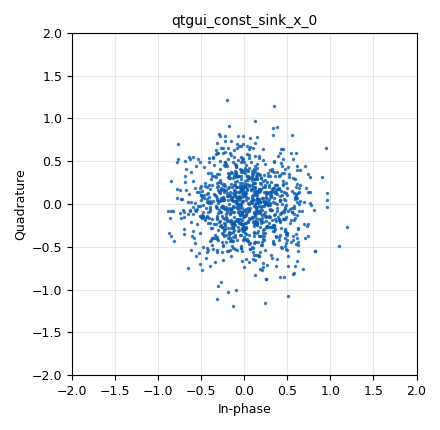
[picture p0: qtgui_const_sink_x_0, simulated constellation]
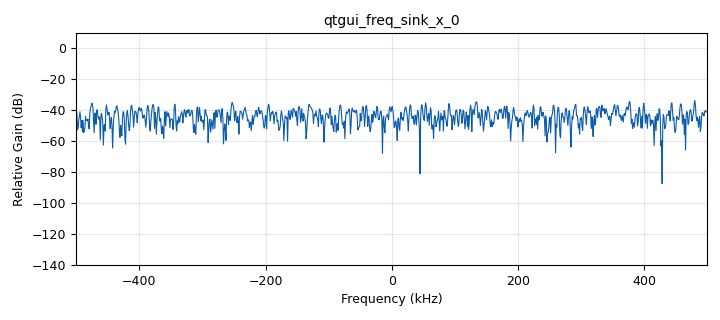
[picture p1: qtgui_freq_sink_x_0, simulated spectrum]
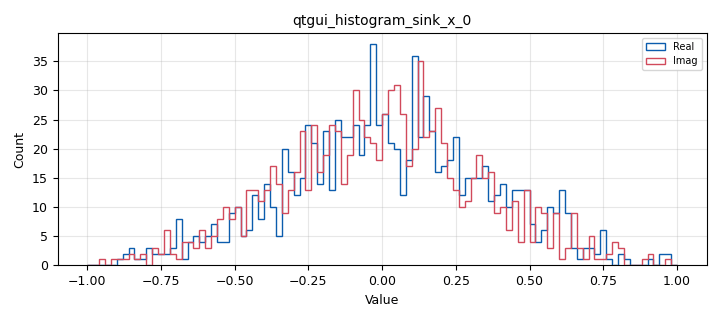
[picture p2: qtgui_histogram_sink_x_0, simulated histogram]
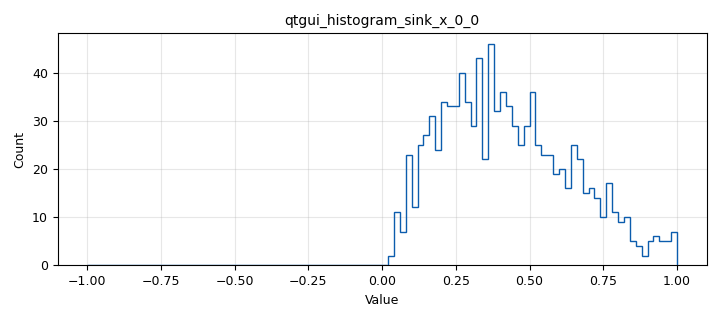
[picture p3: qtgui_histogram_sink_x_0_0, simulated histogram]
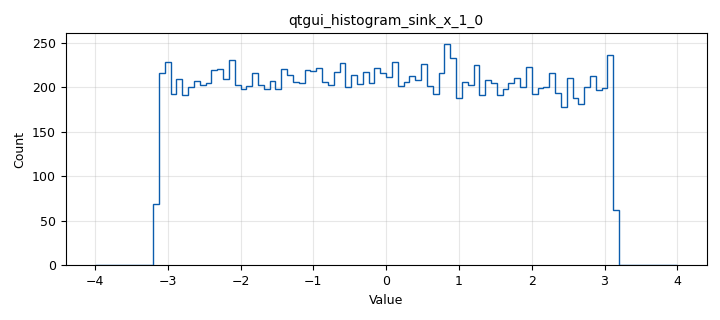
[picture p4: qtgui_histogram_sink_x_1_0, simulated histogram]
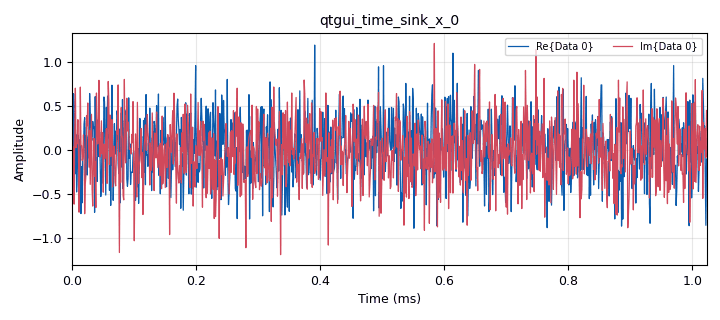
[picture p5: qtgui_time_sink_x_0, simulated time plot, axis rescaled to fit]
options:
  parameters:
    author: jason
    generate_options: qt_gui
    generator_class_name: PythonQtGuiGenerator
    generator_module: gnuradio.grc.workflows.python_qt_gui
    id: lesson32b_noiseRXsim
    output_language: python
    title: noiseRXpluto
  states: {}

blocks:
- name: samp_rate
  id: variable
  parameters:
    value: 1e6
  states: {}
- name: analog_noise_source_x_0
  id: analog_noise_source_x
  parameters:
    amp: '.5'
    noise_type: analog.GR_GAUSSIAN
    seed: '0'
    type: complex
  states: {}
- name: blocks_complex_to_float_0
  id: blocks_complex_to_float
  parameters: {}
  states: {}
- name: blocks_complex_to_magphase_0
  id: blocks_complex_to_magphase
  parameters: {}
  states: {}
- name: blocks_throttle_0
  id: blocks_throttle2
  parameters:
    samples_per_second: samp_rate
    type: complex
  states: {}
- name: qtgui_const_sink_x_0
  id: qtgui_const_sink_x
  parameters:
    size: '1024'
    type: complex
  states: {}
- name: qtgui_freq_sink_x_0
  id: qtgui_freq_sink_x
  parameters:
    bw: samp_rate
    fc: '0'
    fftsize: '1024'
    type: complex
  states: {}
- name: qtgui_histogram_sink_x_0
  id: qtgui_histogram_sink_x
  parameters:
    bins: '100'
    label1: Real
    label2: Imag
    nconnections: '2'
    size: '1024'
    type: float
    xmax: '1'
    xmin: '-1'
  states: {}
- name: qtgui_histogram_sink_x_0_0
  id: qtgui_histogram_sink_x
  parameters:
    bins: '100'
    label1: Magnitude
    size: '1024'
    type: float
    xmax: '1'
    xmin: '-1'
  states: {}
- name: qtgui_histogram_sink_x_1_0
  id: qtgui_histogram_sink_x
  parameters:
    bins: '100'
    label1: Phase
    size: 1024*16
    type: float
    xmax: '4'
    xmin: '-4'
  states: {}
- name: qtgui_time_sink_x_0
  id: qtgui_time_sink_x
  parameters:
    size: '1024'
    srate: samp_rate
    type: complex
  states: {}

connections:
- [analog_noise_source_x_0, '0', blocks_throttle_0, '0']
- [blocks_complex_to_float_0, '0', qtgui_histogram_sink_x_0, '0']
- [blocks_complex_to_float_0, '1', qtgui_histogram_sink_x_0, '1']
- [blocks_complex_to_magphase_0, '0', qtgui_histogram_sink_x_0_0, '0']
- [blocks_complex_to_magphase_0, '1', qtgui_histogram_sink_x_1_0, '0']
- [blocks_throttle_0, '0', blocks_complex_to_float_0, '0']
- [blocks_throttle_0, '0', blocks_complex_to_magphase_0, '0']
- [blocks_throttle_0, '0', qtgui_const_sink_x_0, '0']
- [blocks_throttle_0, '0', qtgui_freq_sink_x_0, '0']
- [blocks_throttle_0, '0', qtgui_time_sink_x_0, '0']

metadata:
  file_format: 1
  grc_version: 3.10.12.0
